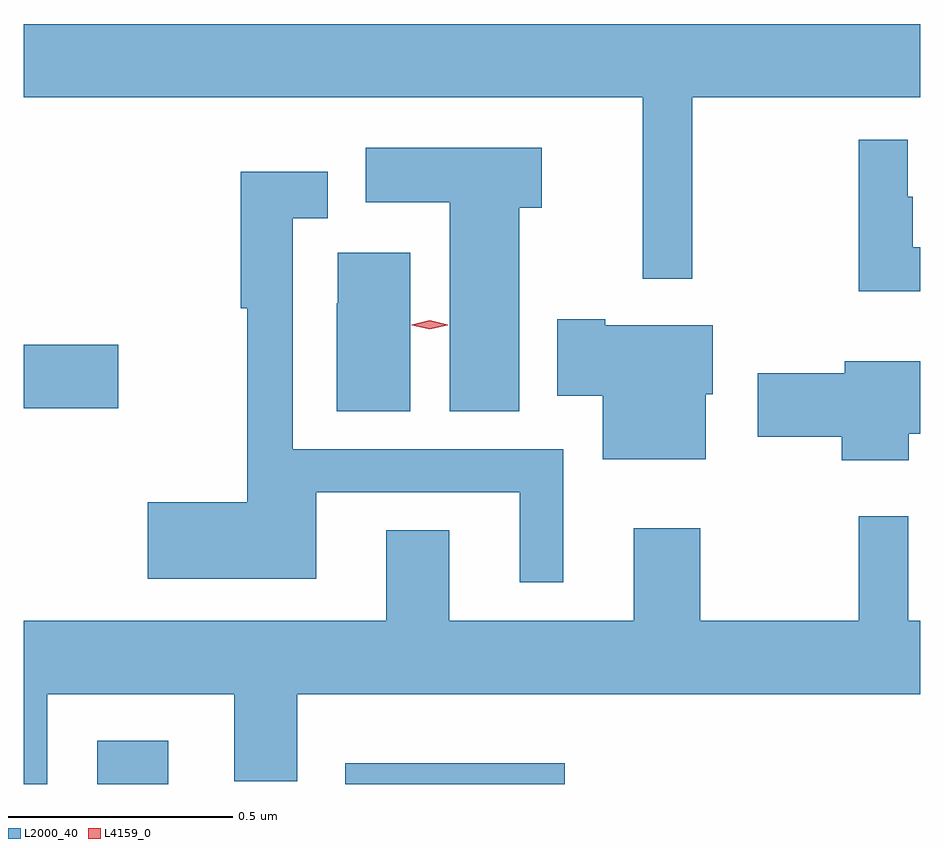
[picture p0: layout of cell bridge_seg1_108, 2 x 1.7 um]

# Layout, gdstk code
import gdstk
lib = gdstk.Library(unit=1e-6, precision=1e-09)
def R(c, l, rs):  # rectangles x0, y0, x1, y1
    for r in rs: c.add(gdstk.rectangle(r[:2], r[2:], *l))
def P(c, l, *ps):  # polygons
    for p in ps: c.add(gdstk.Polygon(p, *l))
L2000_40 = (2000, 40)
L4159_0 = (4159, 0)

bridge_seg1_108 = lib.new_cell('bridge_seg1_108')
R(bridge_seg1_108, L2000_40, [(303.77,568.848,303.928,568.945), (304.323,568.848,304.813,568.894), (303.606,569.686,303.817,569.828)])
P(bridge_seg1_108, L2000_40, [(305.098,570.38),(305.606,570.38),(305.606,570.544),(303.606,570.544),(303.606,570.38),(304.987,570.38),(304.987,569.976),(305.098,569.976)],
  [(305.606,570.046),(305.59,570.046),(305.59,570.158),(305.578,570.158),(305.578,570.286),(305.469,570.286),(305.469,569.948),(305.606,569.948)],
  [(304.711,570.134),(304.762,570.134),(304.762,570.268),(304.369,570.268),(304.369,570.146),(304.556,570.146),(304.556,569.68),(304.711,569.68)],
  [(304.81,569.595),(304.206,569.595),(304.206,570.111),(304.284,570.111),(304.284,570.214),(304.09,570.214),(304.09,569.91),(304.105,569.91),(304.105,569.477),(303.882,569.477),(303.882,569.306),(304.258,569.306),(304.258,569.499),(304.712,569.499),(304.712,569.298),(304.81,569.298)],
  [(304.468,570.034),(304.306,570.034),(304.306,569.921),(304.304,569.921),(304.304,569.68),(304.468,569.68)],
  [(305.128,569.718),(305.143,569.718),(305.143,569.872),(304.903,569.872),(304.903,569.885),(304.796,569.885),(304.796,569.714),(304.898,569.714),(304.898,569.573),(305.128,569.573)],
  [(305.581,569.63),(305.606,569.63),(305.606,569.791),(305.438,569.791),(305.438,569.765),(305.244,569.765),(305.244,569.623),(305.431,569.623),(305.431,569.57),(305.581,569.57)],
  [(303.658,569.048),(304.076,569.048),(304.076,568.854),(304.216,568.854),(304.216,569.048),(305.606,569.048),(305.606,569.212),(305.579,569.212),(305.579,569.446),(305.469,569.446),(305.469,569.212),(305.115,569.212),(305.115,569.419),(304.967,569.419),(304.967,569.212),(304.555,569.212),(304.555,569.414),(304.415,569.414),(304.415,569.212),(303.606,569.212),(303.606,568.848),(303.658,568.848)])
P(bridge_seg1_108, L4159_0, [(304.512,569.863),(304.472,569.872),(304.471,569.873),(304.472,569.873),(304.512,569.883),(304.552,569.873),(304.552,569.873),(304.552,569.872)])

lib.write_gds('bridge_seg1_108.gds')
